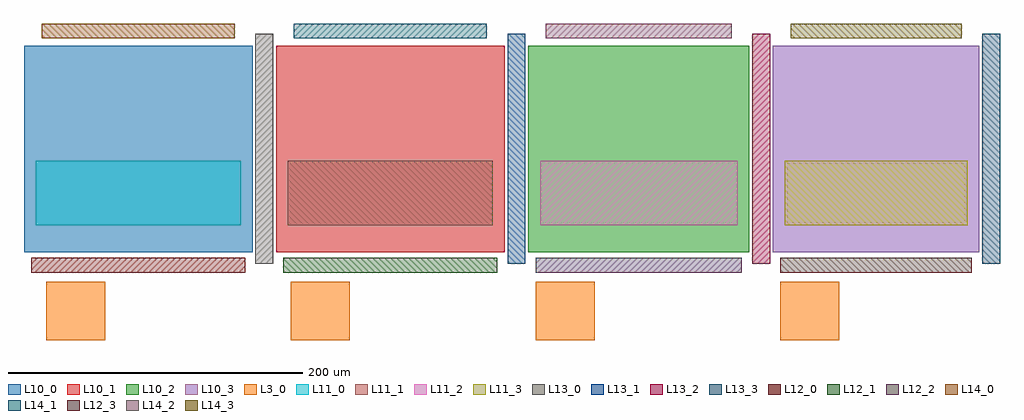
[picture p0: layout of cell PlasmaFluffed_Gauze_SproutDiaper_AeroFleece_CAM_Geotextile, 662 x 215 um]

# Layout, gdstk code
import gdstk
lib = gdstk.Library(unit=1e-6, precision=1e-09)
def R(c, l, rs):  # rectangles x0, y0, x1, y1
    for r in rs: c.add(gdstk.rectangle(r[:2], r[2:], *l))
def A(c, l, x, y, w, h, nx, ny, dx, dy):  # array of equal rectangles
    R(c, l, [(x+i*dx, y+j*dy, x+i*dx+w, y+j*dy+h) for i in range(nx) for j in range(ny)])
L3_0 = (3, 0)
L10_0 = (10, 0)
L10_1 = (10, 1)
L10_2 = (10, 2)
L10_3 = (10, 3)
L11_0 = (11, 0)
L11_1 = (11, 1)
L11_2 = (11, 2)
L11_3 = (11, 3)
L12_0 = (12, 0)
L12_1 = (12, 1)
L12_2 = (12, 2)
L12_3 = (12, 3)
L13_0 = (13, 0)
L13_1 = (13, 1)
L13_2 = (13, 2)
L13_3 = (13, 3)
L14_0 = (14, 0)
L14_1 = (14, 1)
L14_2 = (14, 2)
L14_3 = (14, 3)

plasmafluffed_gauze_spro = lib.new_cell('PlasmaFluffed_Gauze_SproutDiaper_AeroFleece_CAM_Geotextile')
A(plasmafluffed_gauze_spro, L3_0, 15, -60, 40, 40, 4, 1, 166, 0)
R(plasmafluffed_gauze_spro, L10_0, [(0,0,155,140)])
R(plasmafluffed_gauze_spro, L10_1, [(171,0,326,140)])
R(plasmafluffed_gauze_spro, L10_2, [(342,0,492,140)])
R(plasmafluffed_gauze_spro, L10_3, [(508,0,648,140)])
R(plasmafluffed_gauze_spro, L11_0, [(8,18,147,62)])
R(plasmafluffed_gauze_spro, L11_1, [(179,18,318,62)])
R(plasmafluffed_gauze_spro, L11_2, [(350,18,484,62)])
R(plasmafluffed_gauze_spro, L11_3, [(516,18,640,62)])
R(plasmafluffed_gauze_spro, L12_0, [(5,-14,150,-4)])
R(plasmafluffed_gauze_spro, L12_1, [(176,-14,321,-4)])
R(plasmafluffed_gauze_spro, L12_2, [(347,-14,487,-4)])
R(plasmafluffed_gauze_spro, L12_3, [(513,-14,643,-4)])
R(plasmafluffed_gauze_spro, L13_0, [(157,-8,169,148)])
R(plasmafluffed_gauze_spro, L13_1, [(328,-8,340,148)])
R(plasmafluffed_gauze_spro, L13_2, [(494,-8,506,148)])
R(plasmafluffed_gauze_spro, L13_3, [(650,-8,662,148)])
R(plasmafluffed_gauze_spro, L14_0, [(12,145,143,155)])
R(plasmafluffed_gauze_spro, L14_1, [(183,145,314,155)])
R(plasmafluffed_gauze_spro, L14_2, [(354,145,480,155)])
R(plasmafluffed_gauze_spro, L14_3, [(520,145,636,155)])

lib.write_gds('PlasmaFluffed_Gauze_SproutDiaper_AeroFleece_CAM_Geotextile.gds')
